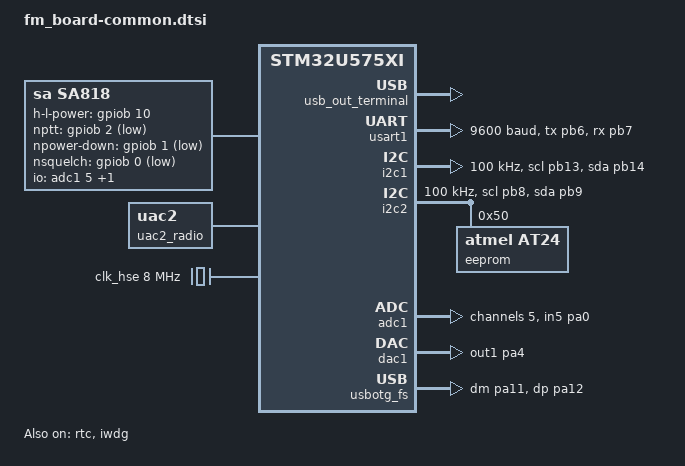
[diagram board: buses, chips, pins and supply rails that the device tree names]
/*
 * Copyright (c) 2025 OE5XRX
 * SPDX-License-Identifier: LGPL-3.0-or-later
 *
 * FM Board Common Device Tree
 * Hardware configuration for STM32U575CITx-based FM transceiver board
 * with SA818 radio module and USB composite device (CDC, UAC2)
 * 
 * Based on nucleo_u575zi_q-common.dtsi structure
 */

#include <st/u5/stm32u575Xi.dtsi>
#include "fm_board-pinctrl.dtsi"
#include <zephyr/dt-bindings/usb/audio.h>

/ {
	sa818: sa818 {
		compatible = "sa,sa818";
		status = "okay";

		uart = <&usart1>;
		
		io-channels = <&adc1 5>, <&dac1 1>;
		io-channel-names = "audio_in", "audio_out";

		h-l-power-gpios    = <&gpiob 10 GPIO_ACTIVE_HIGH>;
		nptt-gpios         = <&gpiob 2 GPIO_ACTIVE_LOW>;
		npower-down-gpios  = <&gpiob 1 GPIO_ACTIVE_LOW>;
		nsquelch-gpios     = <&gpiob 0 GPIO_ACTIVE_LOW>;

		tx-enable-delay-ms = <20>;
		rx-settle-time-ms  = <50>;
	};

	/*
	 * USB Audio Class 2 (UAC2) Configuration
	 * Provides bidirectional audio streaming for SA818 radio
	 * - OUT: USB Host -> SA818 TX (audio to transmit)
	 * - IN: SA818 RX -> USB Host (received audio)
	 */
	uac2_radio: usb_audio2 {
		compatible = "zephyr,uac2";
		status = "okay";
		full-speed;
		audio-function = <AUDIO_FUNCTION_HEADSET>;

		/* Audio Clock Source - 8kHz for SA818 */
		uac_aclk: aclk {
			compatible = "zephyr,uac2-clock-source";
			clock-type = "internal-fixed";
			sampling-frequencies = <8000>;
		};

		/*
		 * Output Path: USB -> SA818 TX
		 * Audio from host is sent to SA818 for transmission
		 */
		usb_out_terminal: usb_out {
			compatible = "zephyr,uac2-input-terminal";
			clock-source = <&uac_aclk>;
			terminal-type = <USB_TERMINAL_STREAMING>;
			/* Mono audio for radio transmission */
			front-center;
		};

		sa818_tx_output: sa818_tx {
			compatible = "zephyr,uac2-output-terminal";
			data-source = <&usb_out_terminal>;
			clock-source = <&uac_aclk>;
			terminal-type = <EMBEDDED_TERMINAL_RADIO_TRANSMITTER>;
		};

		/*
		 * Input Path: SA818 RX -> USB
		 * Received audio from SA818 is sent to host
		 */
		sa818_rx_input: sa818_rx {
			compatible = "zephyr,uac2-input-terminal";
			clock-source = <&uac_aclk>;
			terminal-type = <EMBEDDED_TERMINAL_RADIO_RECEIVER>;
			/* Mono audio from radio receiver */
			front-center;
		};

		/*
		 * Audio Streaming Interfaces
		 */
		as_iso_out: out_interface {
			compatible = "zephyr,uac2-audio-streaming";
			linked-terminal = <&usb_out_terminal>;
			subslot-size = <2>;
			bit-resolution = <16>;
		};
	};
};

&clk_lsi {
	status = "okay";
};

&clk_hse {
	clock-frequency = <DT_FREQ_M(8)>;
	status = "okay";
};

&pll1 {
	div-m = <1>;
	mul-n = <36>;
	div-p = <2>;
	div-q = <2>;
	div-r = <2>;
	clocks = <&clk_hse>;
	status = "okay";
};

&rcc {
	clocks = <&pll1>;
	clock-frequency = <DT_FREQ_M(144)>;
	ahb-prescaler = <1>;
	apb1-prescaler = <1>;
	apb2-prescaler = <1>;
	apb3-prescaler = <1>;
	status = "okay";
};

&usart1 {
	pinctrl-0 = <&usart1_tx_pb6 &usart1_rx_pb7>;
	pinctrl-names = "default";
	current-speed = <9600>;
	status = "okay";
};

&i2c1 {
	pinctrl-0 = <&i2c1_scl_pb13 &i2c1_sda_pb14>;
	pinctrl-names = "default";
	clock-frequency = <I2C_BITRATE_STANDARD>;
	status = "okay";
};

&i2c2 {
	pinctrl-0 = <&i2c2_scl_pb8 &i2c2_sda_pb9>;
	pinctrl-names = "default";
	clock-frequency = <I2C_BITRATE_STANDARD>;
	status = "okay";

	eeprom: cat24c32@50 {
		compatible = "atmel,at24";
		reg = <0x50>;
		size = <4096>;
		pagesize = <32>;
		address-width = <8>;
		timeout = <5>;
	};
};

&flash0 {
	partitions {
		compatible = "fixed-partitions";
		#address-cells = <1>;
		#size-cells = <1>;

		/*
		 * MCUboot Dual-Image Layout (Swap Move) - 2MB total
		 * MCUboot: 48KB
		 * Slot 0 (Primary): 960KB
		 * Slot 1 (Secondary): 960KB
		 * Scratch: 8KB
		 * Storage: 56KB
		 */
		boot_partition: partition@0 {
			label = "mcuboot";
			reg = <0x00000000 DT_SIZE_K(48)>;
			read-only;
		};

		slot0_partition: partition@C000 {
			label = "image-0";
			reg = <0x0000C000 DT_SIZE_K(960)>;
		};

		slot1_partition: partition@FC000 {
			label = "image-1";
			reg = <0x000FC000 DT_SIZE_K(960)>;
		};

		scratch_partition: partition@1EC000 {
			label = "image-scratch";
			reg = <0x001EC000 DT_SIZE_K(8)>;
		};

		storage_partition: partition@1EE000 {
			label = "storage";
			reg = <0x001EE000 DT_SIZE_K(56)>;
		};
	};
};

&adc1 {
	status = "okay";
	pinctrl-0 = <&adc1_in5_pa0>;
	pinctrl-names = "default";
	st,adc-clock-source = "ASYNC";
	st,adc-prescaler = <4>;
	#address-cells = <1>;
	#size-cells = <0>;

	channel@5 {
		reg = <5>;
		zephyr,gain = "ADC_GAIN_1";
		zephyr,reference = "ADC_REF_INTERNAL";
		zephyr,acquisition-time = <ADC_ACQ_TIME_DEFAULT>;
		zephyr,resolution = <14>;
	};
};

&dac1 {
	status = "okay";
	pinctrl-0 = <&dac_out1_pa4>;
	pinctrl-names = "default";
};

&rtc {
	clocks = <&rcc STM32_CLOCK_BUS_APB3 0x00200000>,
		 <&rcc STM32_SRC_LSI RTC_SEL(2)>;
	status = "okay";
};

&iwdg {
	status = "okay";
};

zephyr_udc0: &usbotg_fs {
	pinctrl-0 = <&usb_otg_fs_dm_pa11 &usb_otg_fs_dp_pa12>;
	pinctrl-names = "default";
	status = "okay";

	cdc_acm_uart0: cdc_acm_uart0 {
		compatible = "zephyr,cdc-acm-uart";
	};
};
